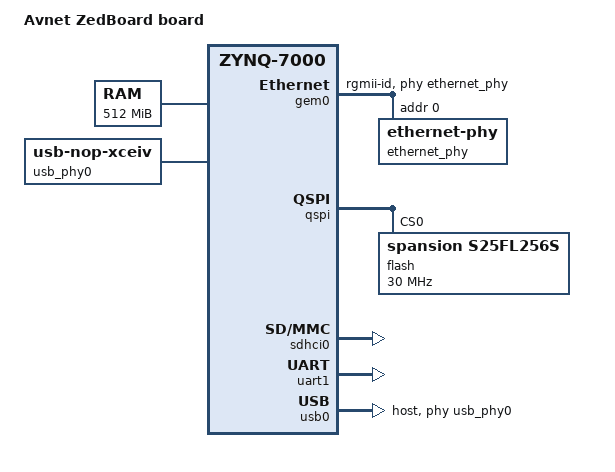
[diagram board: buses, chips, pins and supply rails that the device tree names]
// SPDX-License-Identifier: GPL-2.0+
/*
 *  Copyright (C) 2011 - 2015 Xilinx
 *  Copyright (C) 2012 National Instruments Corp.
 */
/dts-v1/;
#include "zynq-7000.dtsi"

/ {
	model = "Avnet ZedBoard board";
	compatible = "avnet,zynq-zed", "xlnx,zynq-zed", "xlnx,zynq-7000";

	aliases {
		ethernet0 = &gem0;
		serial0 = &uart1;
		spi0 = &qspi;
		mmc0 = &sdhci0;
	};

	memory@0 {
		device_type = "memory";
		reg = <0x0 0x20000000>;
	};

	chosen {
		bootargs = "";
		stdout-path = "serial0:115200n8";
	};

	usb_phy0: phy0 {
		compatible = "usb-nop-xceiv";
		#phy-cells = <0>;
	};
};

&clkc {
	ps-clk-frequency = <33333333>;
};

&gem0 {
	status = "okay";
	phy-mode = "rgmii-id";
	phy-handle = <&ethernet_phy>;

	ethernet_phy: ethernet-phy@0 {
		reg = <0>;
		device_type = "ethernet-phy";
	};
};

&qspi {
	u-boot,dm-pre-reloc;
	status = "okay";
	num-cs = <1>;
	flash@0 {
		compatible = "spansion,s25fl256s", "jedec,spi-nor";
		reg = <0>;
		spi-max-frequency = <30000000>;
		m25p,fast-read;
	};
};

&sdhci0 {
	u-boot,dm-pre-reloc;
	status = "okay";
};

&uart1 {
	u-boot,dm-pre-reloc;
	status = "okay";
};

&usb0 {
	status = "okay";
	dr_mode = "host";
	usb-phy = <&usb_phy0>;
};
